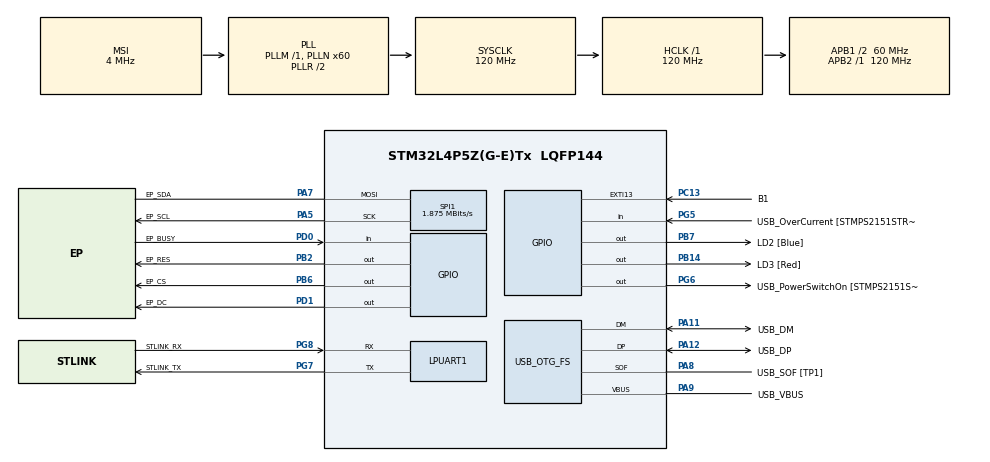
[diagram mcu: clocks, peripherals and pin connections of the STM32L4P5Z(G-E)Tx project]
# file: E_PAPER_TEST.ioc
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Mcu.Family=STM32L4
Mcu.Name=STM32L4P5Z(G-E)Tx
Mcu.Package=LQFP144
NVIC.PriorityGroup=NVIC_PRIORITYGROUP_4
PA10.GPIO_Label=USB_ID
PA10.Signal=USB_OTG_FS_ID
PA11.GPIO_Label=USB_DM
PA11.Mode=Device_Only
PA11.Signal=USB_OTG_FS_DM
PA12.GPIO_Label=USB_DP
PA12.Mode=Device_Only
PA12.Signal=USB_OTG_FS_DP
PA13\ (JTMS/SWDIO).GPIO_Label=TMS
PA13\ (JTMS/SWDIO).Mode=Trace_Asynchronous_SW
PA13\ (JTMS/SWDIO).Signal=SYS_JTMS-SWDIO
PA14\ (JTCK/SWCLK).GPIO_Label=TCK
PA14\ (JTCK/SWCLK).Mode=Trace_Asynchronous_SW
PA14\ (JTCK/SWCLK).Signal=SYS_JTCK-SWCLK
PA5.GPIO_Label=EP_SCL
PA5.Mode=Simplex_Bidirectional_Master
PA5.Signal=SPI1_SCK
PA7.GPIO_Label=EP_SDA
PA7.Mode=Simplex_Bidirectional_Master
PA7.Signal=SPI1_MOSI
PA8.GPIO_Label=USB_SOF [TP1]
PA8.Mode=Activate_SOF_FS
PA8.Signal=USB_OTG_FS_SOF
PA9.GPIO_Label=USB_VBUS
PA9.Mode=Activate_VBUS
PA9.Signal=USB_OTG_FS_VBUS
PB14.GPIO_Label=LD3 [Red]
PB14.Signal=GPIO_Output
PB2.GPIO_Label=EP_RES
PB2.Signal=GPIO_Output
PB3\ (JTDO/TRACESWO).GPIO_Label=SWO
PB3\ (JTDO/TRACESWO).Mode=Trace_Asynchronous_SW
PB3\ (JTDO/TRACESWO).Signal=SYS_JTDO-SWO
PB6.GPIO_Label=EP_CS
PB6.Signal=GPIO_Output
PB7.GPIO_Label=LD2 [Blue]
PB7.Signal=GPIO_Output
PC13.GPIO_Label=B1
PC13.Signal=GPXTI13
PC14-OSC32_IN\ (PC14).Mode=LSE-External-Oscillator
PC14-OSC32_IN\ (PC14).Signal=RCC_OSC32_IN
PC15-OSC32_OUT\ (PC15).Mode=LSE-External-Oscillator
PC15-OSC32_OUT\ (PC15).Signal=RCC_OSC32_OUT
PD0.GPIO_Label=EP_BUSY
PD0.Signal=GPIO_Input
PD1.GPIO_Label=EP_DC
PD1.Signal=GPIO_Output
PG5.GPIO_Label=USB_OverCurrent [STMPS2151STR_FAULT]
PG5.Signal=GPIO_Input
PG6.GPIO_Label=USB_PowerSwitchOn [STMPS2151STR_En]
PG6.Signal=GPIO_Output
PG7.GPIO_Label=STLINK_TX
PG7.Mode=Asynchronous
PG7.Signal=LPUART1_TX
PG8.GPIO_Label=STLINK_RX
PG8.Mode=Asynchronous
PG8.Signal=LPUART1_RX
PH0-OSC_IN\ (PH0).Mode=HSE-External-Clock-Source
PH0-OSC_IN\ (PH0).Signal=RCC_OSC_IN
PH1-OSC_OUT\ (PH1).Signal=RCC_OSC_OUT
ProjectManager.HeapSize=0x200
ProjectManager.StackSize=0x400
ProjectManager.TargetToolchain=STM32CubeIDE
RCC.48MHZClocksFreq_Value=24000000
RCC.ADCFreq_Value=48000000
RCC.AHBFreq_Value=120000000
RCC.APB1CLKDivider=RCC_HCLK_DIV2
RCC.APB1Freq_Value=60000000
RCC.APB1TimFreq_Value=120000000
RCC.APB2Freq_Value=120000000
RCC.APB2TimFreq_Value=120000000
RCC.CortexFreq_Value=120000000
RCC.HCLKFreq_Value=120000000
RCC.HSE_VALUE=8000000
RCC.HSI48_VALUE=48000000
RCC.HSI_VALUE=16000000
RCC.MSI_VALUE=4000000
RCC.PLLMUL=RCC_PLL_MUL9
RCC.PLLN=60
RCC.PLLSAI1N=24
RCC.PRESCALERUSB=RCC_USBCLKSOURCE_PLL_DIV1_5
RCC.SYSCLKFreq_VALUE=120000000
RCC.SYSCLKSource=RCC_SYSCLKSOURCE_PLLCLK
RCC.SYSCLKSourceVirtual=RCC_SYSCLKSOURCE_PLLCLK
RCC.USBFreq_Value=48000000
RCC.VCOOutputFreq_Value=240000000
SPI1.BaudRatePrescaler=SPI_BAUDRATEPRESCALER_64
SPI1.CalculateBaudRate=1.875 MBits/s
SPI1.DataSize=SPI_DATASIZE_8BIT
SPI1.Direction=SPI_DIRECTION_1LINE
SPI1.Mode=SPI_MODE_MASTER
SPI1.VirtualType=VM_MASTER
USB_OTG_FS.VirtualMode=Device_Only
board=NUCLEO-L4P5ZG

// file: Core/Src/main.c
/* USER CODE BEGIN Header */
/**
  ******************************************************************************
  * @file           : main.c
  * @brief          : Main program body
  ******************************************************************************
  * @attention
  *
  * <h2><center>&copy; Copyright (c) 2021 STMicroelectronics.
  * All rights reserved.</center></h2>
  *
  * This software component is licensed by ST under BSD 3-Clause license,
  * the "License"; You may not use this file except in compliance with the
  * License. You may obtain a copy of the License at:
  *                        opensource.org/licenses/BSD-3-Clause
  *
  ******************************************************************************
  */
/* USER CODE END Header */
#include "main.h"

/* USER CODE BEGIN Includes */
#include "EPD_Test.h"
#include "my_button.h"
#include "my_e_paper.h"
#include "my_led.h"
/* USER CODE END Includes */

UART_HandleTypeDef hlpuart1;

SPI_HandleTypeDef hspi1;

PCD_HandleTypeDef hpcd_USB_OTG_FS;

/* USER CODE BEGIN PV */
extern uint8_t boton_estado, boton_flanco;
/* USER CODE END PV */

void SystemClock_Config(void);
static void MX_GPIO_Init(void);
static void MX_LPUART1_UART_Init(void);
static void MX_USB_OTG_FS_PCD_Init(void);
static void MX_SPI1_Init(void);

int main(void)
{
  /* USER CODE BEGIN 1 */
	uint8_t numero_imagen = 0;
	uint32_t delta_tick, tick_anterior;
  /* USER CODE END 1 */

  /* MCU Configuration--------------------------------------------------------*/

  /* Reset of all peripherals, Initializes the Flash interface and the Systick. */
  HAL_Init();

  /* Configure the system clock */
  SystemClock_Config();

  /* Initialize all configured peripherals */
  MX_GPIO_Init();
  MX_LPUART1_UART_Init();
  MX_USB_OTG_FS_PCD_Init();
  MX_SPI1_Init();
  /* USER CODE BEGIN 2 */
  EPD_Init();
//		EPD_1in02d_test();

//		EPD_1in54_test();
//		EPD_1in54_V2_test();
//		EPD_1in54b_test();
//		EPD_1in54b_V2_test();
//		EPD_1in54c_test();

//		EPD_2in7_test();
//		EPD_2in7b_test();
//		EPD_2in7b_V2_test();

//		EPD_2in9_test();
//		EPD_2in9_V2_test();
//		EPD_2in9bc_test();
//		EPD_2in9b_V3_test();
//		EPD_2in9d_test();

//		EPD_2in13_test();
//		EPD_2in13_V2_test();
//		EPD_2in13bc_test();
//		EPD_2in13b_V3_test();
//		EPD_2in13d_test();

//		EPD_2in66_test();
//		EPD_2in66b_test();

//		EPD_3in7_test();

//		EPD_4in01f_test();

//		EPD_4in2_test();
//		EPD_4in2bc_test();
//		EPD_4in2b_V2_test();
//		EPD_5in65f_test();

//		EPD_5in83_test();
//		EPD_5in83_V2_test();
//		EPD_5in83bc_test();
//		EPD_5in83b_V2_test();

//		EPD_7in5_test();
//		EPD_7in5_V2_test();
//		EPD_7in5bc_test();
//		EPD_7in5b_V2_test();

//		EPD_7in5_HD_test();
//		EPD_7in5b_HD_test();
  /* USER CODE END 2 */

  /* Infinite loop */
  /* USER CODE BEGIN WHILE */
  boton_flanco = 1;
  while (1)
  {
    /* USER CODE END WHILE */

    /* USER CODE BEGIN 3 */
//	  HAL_Delay(10000);
	  toggle_led(LED_AZUL_PIN);

	  debounce_btn();

	  if(boton_flanco && boton_estado)
	  {
		  boton_flanco = 0;
		  HAL_GPIO_TogglePin(LED_ROJO_PIN);

		  tick_anterior = HAL_GetTick();
		  EPD_dibujar_imagen(numero_imagen);
		  delta_tick = HAL_GetTick() - tick_anterior;
		  numero_imagen++;
		  numero_imagen %= 3;
	  }
  }
  /* USER CODE END 3 */
}

void SystemClock_Config(void)
{
  RCC_OscInitTypeDef RCC_OscInitStruct = {0};
  RCC_ClkInitTypeDef RCC_ClkInitStruct = {0};
  RCC_PeriphCLKInitTypeDef PeriphClkInit = {0};

  /** Configure the main internal regulator output voltage
  */
  if (HAL_PWREx_ControlVoltageScaling(PWR_REGULATOR_VOLTAGE_SCALE1_BOOST) != HAL_OK)
  {
    Error_Handler();
  }
  /** Configure LSE Drive Capability
  */
  HAL_PWR_EnableBkUpAccess();
  __HAL_RCC_LSEDRIVE_CONFIG(RCC_LSEDRIVE_LOW);
  /** Initializes the RCC Oscillators according to the specified parameters
  * in the RCC_OscInitTypeDef structure.
  */
  RCC_OscInitStruct.OscillatorType = RCC_OSCILLATORTYPE_LSE|RCC_OSCILLATORTYPE_MSI;
  RCC_OscInitStruct.LSEState = RCC_LSE_ON;
  RCC_OscInitStruct.MSIState = RCC_MSI_ON;
  RCC_OscInitStruct.MSICalibrationValue = 0;
  RCC_OscInitStruct.MSIClockRange = RCC_MSIRANGE_6;
  RCC_OscInitStruct.PLL.PLLState = RCC_PLL_ON;
  RCC_OscInitStruct.PLL.PLLSource = RCC_PLLSOURCE_MSI;
  RCC_OscInitStruct.PLL.PLLM = 1;
  RCC_OscInitStruct.PLL.PLLN = 60;
  RCC_OscInitStruct.PLL.PLLP = RCC_PLLP_DIV7;
  RCC_OscInitStruct.PLL.PLLQ = RCC_PLLQ_DIV2;
  RCC_OscInitStruct.PLL.PLLR = RCC_PLLR_DIV2;
  if (HAL_RCC_OscConfig(&RCC_OscInitStruct) != HAL_OK)
  {
    Error_Handler();
  }
  /** Initializes the CPU, AHB and APB buses clocks
  */
  RCC_ClkInitStruct.ClockType = RCC_CLOCKTYPE_HCLK|RCC_CLOCKTYPE_SYSCLK
                              |RCC_CLOCKTYPE_PCLK1|RCC_CLOCKTYPE_PCLK2;
  RCC_ClkInitStruct.SYSCLKSource = RCC_SYSCLKSOURCE_PLLCLK;
  RCC_ClkInitStruct.AHBCLKDivider = RCC_SYSCLK_DIV1;
  RCC_ClkInitStruct.APB1CLKDivider = RCC_HCLK_DIV2;
  RCC_ClkInitStruct.APB2CLKDivider = RCC_HCLK_DIV1;

  if (HAL_RCC_ClockConfig(&RCC_ClkInitStruct, FLASH_LATENCY_5) != HAL_OK)
  {
    Error_Handler();
  }
  PeriphClkInit.PeriphClockSelection = RCC_PERIPHCLK_LPUART1|RCC_PERIPHCLK_USB;
  PeriphClkInit.Lpuart1ClockSelection = RCC_LPUART1CLKSOURCE_PCLK1;
  PeriphClkInit.UsbClockSelection = RCC_USBCLKSOURCE_PLLSAI1;
  PeriphClkInit.PLLSAI1.PLLSAI1Source = RCC_PLLSOURCE_MSI;
  PeriphClkInit.PLLSAI1.PLLSAI1M = 1;
  PeriphClkInit.PLLSAI1.PLLSAI1N = 24;
  PeriphClkInit.PLLSAI1.PLLSAI1P = RCC_PLLP_DIV7;
  PeriphClkInit.PLLSAI1.PLLSAI1Q = RCC_PLLQ_DIV2;
  PeriphClkInit.PLLSAI1.PLLSAI1R = RCC_PLLR_DIV2;
  PeriphClkInit.PLLSAI1.PLLSAI1ClockOut = RCC_PLLSAI1_48M2CLK;
  if (HAL_RCCEx_PeriphCLKConfig(&PeriphClkInit) != HAL_OK)
  {
    Error_Handler();
  }
  /** Enable MSI Auto calibration
  */
  HAL_RCCEx_EnableMSIPLLMode();
}

static void MX_LPUART1_UART_Init(void)
{

  hlpuart1.Instance = LPUART1;
  hlpuart1.Init.BaudRate = 209700;
  hlpuart1.Init.WordLength = UART_WORDLENGTH_7B;
  hlpuart1.Init.StopBits = UART_STOPBITS_1;
  hlpuart1.Init.Parity = UART_PARITY_NONE;
  hlpuart1.Init.Mode = UART_MODE_TX_RX;
  hlpuart1.Init.HwFlowCtl = UART_HWCONTROL_NONE;
  hlpuart1.Init.OneBitSampling = UART_ONE_BIT_SAMPLE_DISABLE;
  hlpuart1.Init.ClockPrescaler = UART_PRESCALER_DIV1;
  hlpuart1.AdvancedInit.AdvFeatureInit = UART_ADVFEATURE_NO_INIT;
  hlpuart1.FifoMode = UART_FIFOMODE_DISABLE;
  if (HAL_UART_Init(&hlpuart1) != HAL_OK)
  {
    Error_Handler();
  }
  if (HAL_UARTEx_SetTxFifoThreshold(&hlpuart1, UART_TXFIFO_THRESHOLD_1_8) != HAL_OK)
  {
    Error_Handler();
  }
  if (HAL_UARTEx_SetRxFifoThreshold(&hlpuart1, UART_RXFIFO_THRESHOLD_1_8) != HAL_OK)
  {
    Error_Handler();
  }
  if (HAL_UARTEx_DisableFifoMode(&hlpuart1) != HAL_OK)
  {
    Error_Handler();
  }

}

static void MX_SPI1_Init(void)
{

  /* SPI1 parameter configuration*/
  hspi1.Instance = SPI1;
  hspi1.Init.Mode = SPI_MODE_MASTER;
  hspi1.Init.Direction = SPI_DIRECTION_1LINE;
  hspi1.Init.DataSize = SPI_DATASIZE_8BIT;
  hspi1.Init.CLKPolarity = SPI_POLARITY_LOW;
  hspi1.Init.CLKPhase = SPI_PHASE_1EDGE;
  hspi1.Init.NSS = SPI_NSS_SOFT;
  hspi1.Init.BaudRatePrescaler = SPI_BAUDRATEPRESCALER_64;
  hspi1.Init.FirstBit = SPI_FIRSTBIT_MSB;
  hspi1.Init.TIMode = SPI_TIMODE_DISABLE;
  hspi1.Init.CRCCalculation = SPI_CRCCALCULATION_DISABLE;
  hspi1.Init.CRCPolynomial = 7;
  hspi1.Init.CRCLength = SPI_CRC_LENGTH_DATASIZE;
  hspi1.Init.NSSPMode = SPI_NSS_PULSE_ENABLE;
  if (HAL_SPI_Init(&hspi1) != HAL_OK)
  {
    Error_Handler();
  }

}

static void MX_USB_OTG_FS_PCD_Init(void)
{

  hpcd_USB_OTG_FS.Instance = USB_OTG_FS;
  hpcd_USB_OTG_FS.Init.dev_endpoints = 6;
  hpcd_USB_OTG_FS.Init.phy_itface = PCD_PHY_EMBEDDED;
  hpcd_USB_OTG_FS.Init.Sof_enable = ENABLE;
  hpcd_USB_OTG_FS.Init.low_power_enable = DISABLE;
  hpcd_USB_OTG_FS.Init.lpm_enable = DISABLE;
  hpcd_USB_OTG_FS.Init.battery_charging_enable = ENABLE;
  hpcd_USB_OTG_FS.Init.use_dedicated_ep1 = DISABLE;
  hpcd_USB_OTG_FS.Init.vbus_sensing_enable = ENABLE;
  if (HAL_PCD_Init(&hpcd_USB_OTG_FS) != HAL_OK)
  {
    Error_Handler();
  }

}

static void MX_GPIO_Init(void)
{
  GPIO_InitTypeDef GPIO_InitStruct = {0};

  /* GPIO Ports Clock Enable */
  __HAL_RCC_GPIOC_CLK_ENABLE();
  __HAL_RCC_GPIOH_CLK_ENABLE();
  __HAL_RCC_GPIOA_CLK_ENABLE();
  __HAL_RCC_GPIOB_CLK_ENABLE();
  __HAL_RCC_GPIOG_CLK_ENABLE();
  HAL_PWREx_EnableVddIO2();
  __HAL_RCC_GPIOD_CLK_ENABLE();

  /*Configure GPIO pin Output Level */
  HAL_GPIO_WritePin(GPIOB, EP_RES_Pin|LD3_Pin|EP_CS_Pin|LD2_Pin, GPIO_PIN_RESET);

  /*Configure GPIO pin Output Level */
  HAL_GPIO_WritePin(USB_PowerSwitchOn_GPIO_Port, USB_PowerSwitchOn_Pin, GPIO_PIN_RESET);

  /*Configure GPIO pin Output Level */
  HAL_GPIO_WritePin(EP_DC_GPIO_Port, EP_DC_Pin, GPIO_PIN_RESET);

  /*Configure GPIO pin : B1_Pin */
  GPIO_InitStruct.Pin = B1_Pin;
  GPIO_InitStruct.Mode = GPIO_MODE_IT_RISING;
  GPIO_InitStruct.Pull = GPIO_NOPULL;
  HAL_GPIO_Init(B1_GPIO_Port, &GPIO_InitStruct);

  /*Configure GPIO pins : EP_RES_Pin LD3_Pin EP_CS_Pin LD2_Pin */
  GPIO_InitStruct.Pin = EP_RES_Pin|LD3_Pin|EP_CS_Pin|LD2_Pin;
  GPIO_InitStruct.Mode = GPIO_MODE_OUTPUT_PP;
  GPIO_InitStruct.Pull = GPIO_NOPULL;
  GPIO_InitStruct.Speed = GPIO_SPEED_FREQ_LOW;
  HAL_GPIO_Init(GPIOB, &GPIO_InitStruct);

  /*Configure GPIO pin : USB_OverCurrent_Pin */
  GPIO_InitStruct.Pin = USB_OverCurrent_Pin;
  GPIO_InitStruct.Mode = GPIO_MODE_INPUT;
  GPIO_InitStruct.Pull = GPIO_NOPULL;
  HAL_GPIO_Init(USB_OverCurrent_GPIO_Port, &GPIO_InitStruct);

  /*Configure GPIO pin : USB_PowerSwitchOn_Pin */
  GPIO_InitStruct.Pin = USB_PowerSwitchOn_Pin;
  GPIO_InitStruct.Mode = GPIO_MODE_OUTPUT_PP;
  GPIO_InitStruct.Pull = GPIO_NOPULL;
  GPIO_InitStruct.Speed = GPIO_SPEED_FREQ_LOW;
  HAL_GPIO_Init(USB_PowerSwitchOn_GPIO_Port, &GPIO_InitStruct);

  /*Configure GPIO pin : EP_BUSY_Pin */
  GPIO_InitStruct.Pin = EP_BUSY_Pin;
  GPIO_InitStruct.Mode = GPIO_MODE_INPUT;
  GPIO_InitStruct.Pull = GPIO_NOPULL;
  HAL_GPIO_Init(EP_BUSY_GPIO_Port, &GPIO_InitStruct);

  /*Configure GPIO pin : EP_DC_Pin */
  GPIO_InitStruct.Pin = EP_DC_Pin;
  GPIO_InitStruct.Mode = GPIO_MODE_OUTPUT_PP;
  GPIO_InitStruct.Pull = GPIO_NOPULL;
  GPIO_InitStruct.Speed = GPIO_SPEED_FREQ_LOW;
  HAL_GPIO_Init(EP_DC_GPIO_Port, &GPIO_InitStruct);

}

void Error_Handler(void)
{
  __disable_irq();
  while (1)
  {
  }
}

/************************ (C) COPYRIGHT STMicroelectronics *****END OF FILE****/
